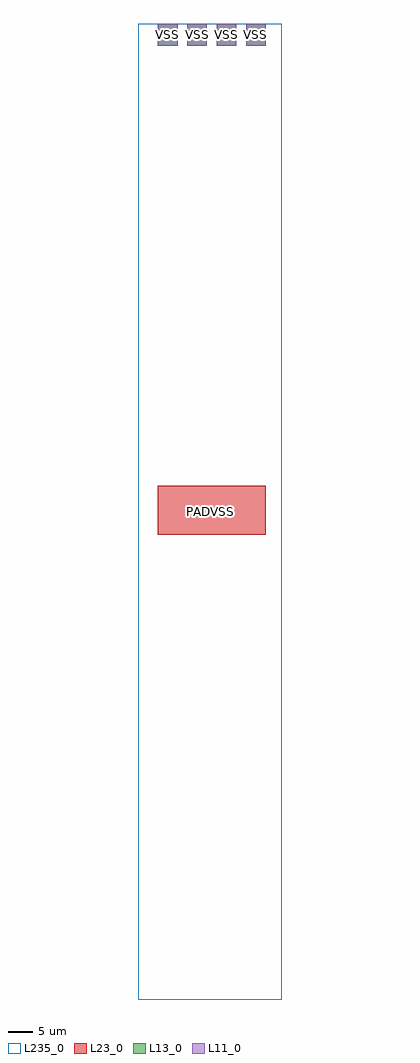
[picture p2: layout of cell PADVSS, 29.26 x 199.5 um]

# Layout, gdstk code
import gdstk
lib = gdstk.Library(unit=1e-6, precision=5e-10)
def R(c, l, rs):  # rectangles x0, y0, x1, y1
    for r in rs: c.add(gdstk.rectangle(r[:2], r[2:], *l))
def A(c, l, x, y, w, h, nx, ny, dx, dy):  # array of equal rectangles
    R(c, l, [(x+i*dx, y+j*dy, x+i*dx+w, y+j*dy+h) for i in range(nx) for j in range(ny)])
L11_0 = (11, 0)
L13_0 = (13, 0)
L23_0 = (23, 0)
L235_0 = (235, 0)

padvss = lib.new_cell('PADVSS')
A(padvss, L11_0, 4, 195, 4, 4.5, 4, 1, 6, 0)
A(padvss, L13_0, 4, 195, 4, 4.5, 4, 1, 6, 0)
R(padvss, L23_0, [(4,95,26,105)])
R(padvss, L235_0, [(0,0,29.26,199.5)])
padvss.add(gdstk.Label('PADVSS', (14.63,99.75), layer=108, texttype=3))
padvss.add(gdstk.Label('VSS', (24,197.25), layer=13, texttype=0))
padvss.add(gdstk.Label('VSS', (18,197.25), layer=13, texttype=0))
padvss.add(gdstk.Label('VSS', (12,197.25), layer=13, texttype=0))
padvss.add(gdstk.Label('VSS', (6,197.25), layer=13, texttype=0))
padvss.add(gdstk.Label('VSS', (24,197.25), layer=11, texttype=0))
padvss.add(gdstk.Label('VSS', (18,197.25), layer=11, texttype=0))
padvss.add(gdstk.Label('VSS', (12,197.25), layer=11, texttype=0))
padvss.add(gdstk.Label('VSS', (6,197.25), layer=11, texttype=0))
padvss.add(gdstk.Label('VSS', (15,100), layer=23, texttype=0))

lib.write_gds('PADVSS.gds')
